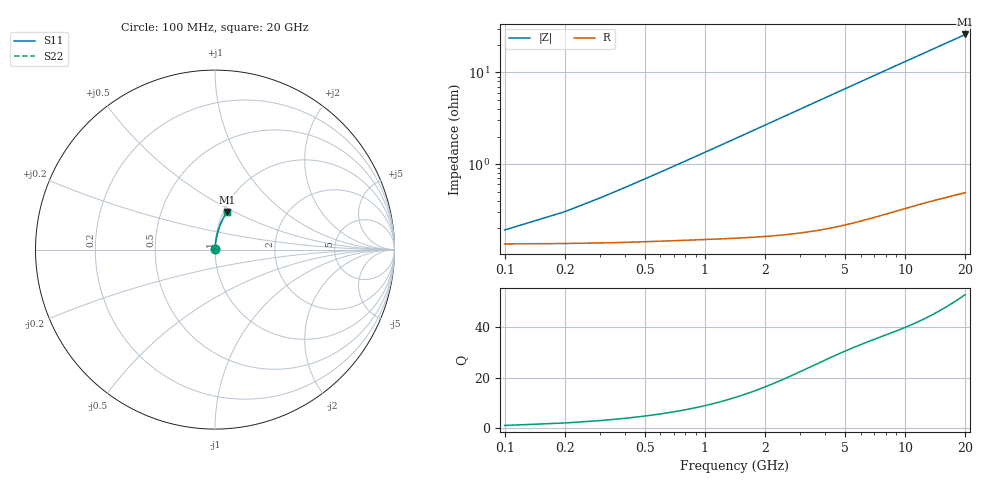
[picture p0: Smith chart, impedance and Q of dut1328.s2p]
! Touchstone file exported from HFSS 2026.1.0
!  File:  C:/ffzhzh/LocalFiles/Ansys_Project_Files/temp_train_BSMRDL_1328_1783178632_18472.aedt
!  Generated:  11:25:09 PM Jul  4, 2026
!  Design:  BSMRDL
!  Project:  temp_train_BSMRDL_1328_1783178632_18472
! Variables:
!  h_bsmrdl = 4.07um
!  h_ox = 20um
!  h_rdl = 5um
!  h_sub = 80um
!  h_tmrdl = 5um
!  h_tsv = 80um
!  h_via = 3um
!  l_bsmrdl = 149.62um
!  l_sub = 549.62um
!  l_tmrdl = 200um
!  m_sub = 200um
!  pitch = 55.17um
!  r_tsv = 6um
!  s_tmrdl = 10um
!  w_bsmrdl = 10.65um
!  w_sub = 500um
!  w_tmrdl = 12um
!  x_tsv_center1 = 206um
!  x_tsv_center2 = 366.27um
!  x_tsv_center3 = 578.27um
!  x_tsv_center4 = 738.54um
!  x_tsv_center5 = 950.54um
!  x_tsv_center6 = 1110.81um
# GHz S MA R 50.000000
! Terminal data exported
! Port[1] = BSM_RDL1_1_T1
! Port[2] = BSM_RDL1_1_T2
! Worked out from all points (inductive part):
!   200 points, 100 MHz to 20 GHz, reference 50 ohm
!   read as one part in series: L = 214 pH near 400 MHz
!   highest Q = 53 at 20 GHz (marker M1), where L = 206 pH
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0.1  0.001801 41.5  0.9987 -0.1  0.9987 -0.1  0.001801 41.5
! Gamma 0 0 0 0
! Port Impedance 50 0 50 0
0.2  0.002746 60.1  0.9986 -0.2  0.9986 -0.2  0.002746 60.1
0.3  0.003825 68.6  0.9986 -0.3  0.9986 -0.3  0.003825 68.6
0.4  0.004945 73.2  0.9986 -0.3  0.9986 -0.3  0.004945 73.2
0.5  0.006081 76.0  0.9986 -0.4  0.9986 -0.4  0.006081 76.0
0.6  0.007223 78.0  0.9985 -0.5  0.9985 -0.5  0.007223 78.0
0.8  0.009517 80.4  0.9985 -0.7  0.9985 -0.7  0.009517 80.4
1.1  0.01297 82.4  0.9984 -0.9  0.9984 -0.9  0.01297 82.4
1.5  0.01759 83.6  0.9983 -1.3  0.9983 -1.3  0.01759 83.6
1.8  0.02106 84.1  0.9982 -1.5  0.9982 -1.5  0.02106 84.1
2.1  0.02453 84.4  0.9981 -1.8  0.9981 -1.8  0.02453 84.4
2.7  0.03147 84.6  0.9978 -2.3  0.9978 -2.3  0.03147 84.6
3.5  0.04069 84.4  0.9973 -3.0  0.9973 -3.0  0.04069 84.4
4.2  0.04873 84.1  0.9968 -3.6  0.9968 -3.6  0.04873 84.1
5  0.05788 83.6  0.9962 -4.2  0.9962 -4.2  0.05788 83.6
5.9  0.06812 83.0  0.9953 -5.0  0.9953 -5.0  0.06812 83.0
6.8  0.07829 82.4  0.9944 -5.7  0.9944 -5.7  0.07829 82.4
8.3  0.09511 81.3  0.9926 -7.0  0.9926 -7.0  0.09511 81.3
10.1  0.1151 79.9  0.9901 -8.5  0.9901 -8.5  0.1151 79.9
13.4  0.151 77.4  0.9847 -11.2  0.9847 -11.2  0.151 77.4
16.7  0.1861 74.8  0.9782 -13.8  0.9782 -13.8  0.1861 74.8
20  0.2202 72.3  0.9707 -16.4  0.9707 -16.4  0.2202 72.3
